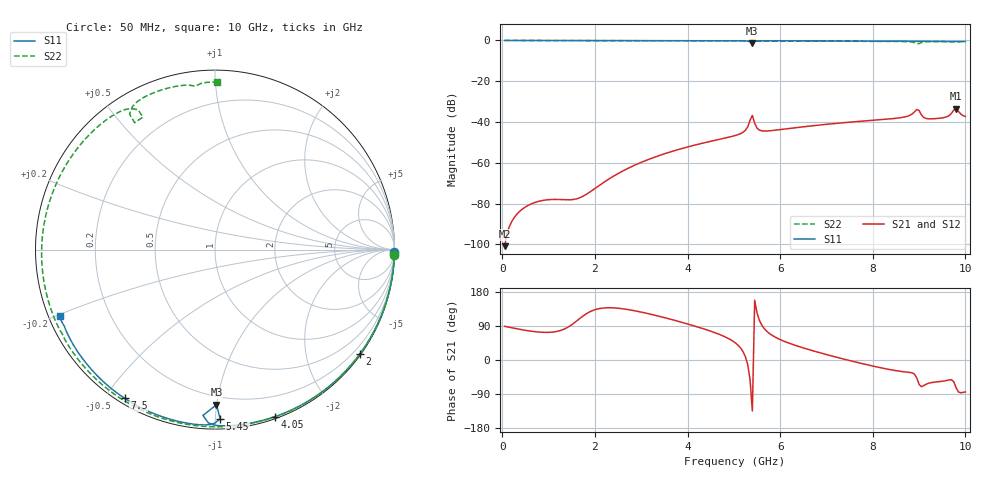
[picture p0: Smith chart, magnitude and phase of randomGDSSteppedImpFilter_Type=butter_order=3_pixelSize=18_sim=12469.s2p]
! freq	dB(S11)	phase(S11)	dB(S12)	phase(S12)
!  dB(S21)	phase(S21)	dB(S22)	phase(S22)
!S-par simulation data
#  GHz  S  DB  R 50
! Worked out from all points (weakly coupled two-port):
!   200 points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, 50 MHz to 10 GHz, reference 50 ohm
!   highest |S21| = -33.48 dB at 9.8 GHz (marker M1); lowest = -100.9 dB at 50 MHz (marker M2)
!   lowest |S11| = -1.3 dB at 5.4 GHz (marker M3), VSWR 13.76, Z = 7.3 - j49.9 ohm
!   |S11| at or under -10 dB: nowhere
!   |S22| runs from -1.5 to 0.0 dB; largest |S21 - S12| = 0
!   S11 on the Smith chart (normalised r, x): 50 MHz: open; 2 GHz: 0.03, -3.10; 4.05 GHz: 0.02, -1.42; 5.45 GHz: 0.06, -1.03; 7.5 GHz: 0.02, -0.56; 10 GHz: 0.03, -0.20
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0.05  -0.00 -0.9  -100.93 88.8  -100.93 88.8  -0.00 -1.6
0.85  -0.02 -15.4  -78.59 73.2  -78.59 73.2  -0.04 -27.5
1.75  -0.04 -31.4  -76.35 116.7  -76.35 116.7  -0.07 -55.5
2  -0.05 -35.8  -72.62 132.7  -72.62 132.7  -0.08 -62.9
2.65  -0.06 -47.0  -63.47 134.3  -63.47 134.3  -0.10 -81.6
3.4  -0.08 -59.6  -56.38 115.0  -56.38 115.0  -0.13 -101.9
4.05  -0.10 -70.2  -51.97 93.4  -51.97 93.4  -0.15 -118.6
5.05  -0.14 -86.5  -46.50 43.5  -46.50 43.5  -0.20 -142.9
5.25  -0.21 -90.6  -44.07 8.6  -44.07 8.6  -0.21 -147.7
5.4  -1.27 -89.5  -36.78 -134.6  -36.78 -134.6  -0.25 -151.2
5.45  -0.51 -88.3  -40.61 157.6  -40.61 157.6  -0.23 -152.3
5.55  -0.22 -91.5  -43.96 105.3  -43.96 105.3  -0.23 -154.7
5.65  -0.19 -93.6  -44.44 83.8  -44.44 83.8  -0.24 -157.1
6.7  -0.22 -109.9  -41.85 24.6  -41.85 24.6  -0.31 178.2
7.5  -0.27 -121.3  -40.09 -1.5  -40.09 -1.5  -0.37 158.7
8.35  -0.34 -133.3  -38.53 -24.9  -38.53 -24.9  -0.46 136.5
8.75  -0.38 -138.9  -37.17 -32.1  -37.17 -32.1  -0.60 124.5
8.95  -0.40 -141.7  -33.91 -47.1  -33.91 -47.1  -1.51 118.6
9.15  -0.42 -144.6  -38.27 -64.0  -38.27 -64.0  -0.62 117.8
9.5  -0.47 -149.6  -38.00 -56.3  -38.00 -56.3  -0.57 105.4
9.8  -0.52 -153.7  -33.48 -73.3  -33.48 -73.3  -0.73 96.4
10  -0.52 -156.8  -37.30 -84.3  -37.30 -84.3  -0.60 89.4
